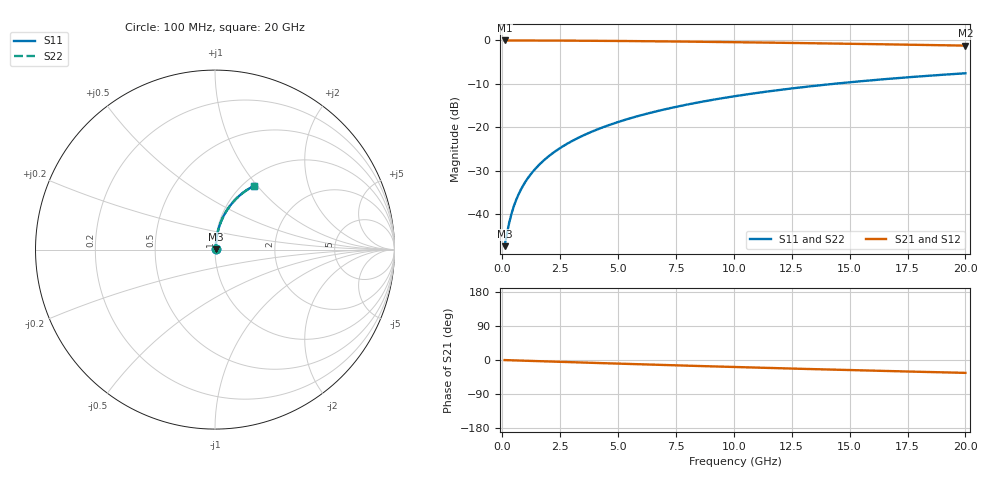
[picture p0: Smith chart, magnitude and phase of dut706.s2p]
! Touchstone file exported from HFSS 2024.1.0
!  File:  C:/UserFiles/LocalFiles/RDL_TSV_Batchsim/temp_RDL_bottom_706_1779857799.aedt
!  Generated:  12:59:29 PM May 27, 2026
!  Design:  RDL_bottom
!  Project:  temp_RDL_bottom_706_1779857799
!  Setup:  Setup1
!  Solution:  Sweep
! Variables:
!  dtsv = 10.80580581um
!  hbump = 3um
!  htsv = 92.13um
!  ldown = 377.44um
!  lrdl = 100um
!  p = 40
!  p1 = 58.37um
!  rhole = 1um
!  t = 450um
!  tdown = 3um
!  trdl = 3.915915916um
!  wdown = 13.13um
!  wrdl = 20um
# GHz S MA R 50.000000
! Terminal data exported
! Port[1] = RDL1_T1
! Port[2] = RDL1_T2
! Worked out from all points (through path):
!   200 points, 100 MHz to 20 GHz, reference 50 ohm
!   highest |S21| = -0.03 dB at 100 MHz (marker M1); lowest = -1.2 dB at 20 GHz (marker M2)
!   group delay of S21, straight-line fit = 4.72 ps
!   lowest |S11| = -47.4 dB at 100 MHz (marker M3), VSWR 1.01, Z = 50.4 + j0.239 ohm
!   |S11| at or under -10 dB: start of sweep to 14.36 GHz
!   |S22| runs from -47.4 to -7.6 dB; largest |S21 - S12| = 3.7e-15
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0.1  0.004261 33.8  0.9965 -0.2  0.9965 -0.2  0.004261 33.8
! Gamma 0 0 0 0
! Port Impedance 50 0 50 0
0.2  0.005941 52.8  0.9964 -0.4  0.9964 -0.4  0.005941 52.8
0.3  0.007971 62.5  0.9963 -0.6  0.9963 -0.6  0.007971 62.5
0.4  0.01013 68.1  0.9962 -0.8  0.9962 -0.8  0.01013 68.1
0.5  0.01233 71.6  0.9961 -1.0  0.9961 -1.0  0.01233 71.6
0.6  0.01455 74.0  0.996 -1.2  0.996 -1.2  0.01455 74.0
0.8  0.01903 77.0  0.9958 -1.6  0.9958 -1.6  0.01903 77.0
1.1  0.02577 79.5  0.9953 -2.2  0.9953 -2.2  0.02577 79.5
1.5  0.03481 81.1  0.9947 -2.9  0.9947 -2.9  0.03481 81.1
1.8  0.04161 81.7  0.9942 -3.5  0.9942 -3.5  0.04161 81.7
2.1  0.04843 82.1  0.9935 -4.1  0.9935 -4.1  0.04843 82.1
2.7  0.06211 82.2  0.992 -5.2  0.992 -5.2  0.06211 82.2
3.5  0.08038 81.9  0.9894 -6.8  0.9894 -6.8  0.08037 81.9
4.2  0.09637 81.3  0.9867 -8.1  0.9867 -8.1  0.09637 81.3
5  0.1146 80.4  0.9832 -9.6  0.9832 -9.6  0.1146 80.4
5.9  0.1351 79.3  0.9786 -11.2  0.9786 -11.2  0.1351 79.3
6.8  0.1555 78.1  0.9736 -12.9  0.9736 -12.9  0.1555 78.1
8.3  0.1891 76.0  0.9642 -15.5  0.9642 -15.5  0.1891 75.9
10.1  0.2286 73.2  0.9517 -18.6  0.9517 -18.6  0.2286 73.2
13.4  0.2973 68.1  0.926 -24.0  0.926 -24.0  0.2973 68.1
16.7  0.3605 63.2  0.8981 -29.2  0.8981 -29.2  0.3605 63.1
20  0.4174 58.4  0.8691 -34.0  0.8691 -34.0  0.4174 58.4
